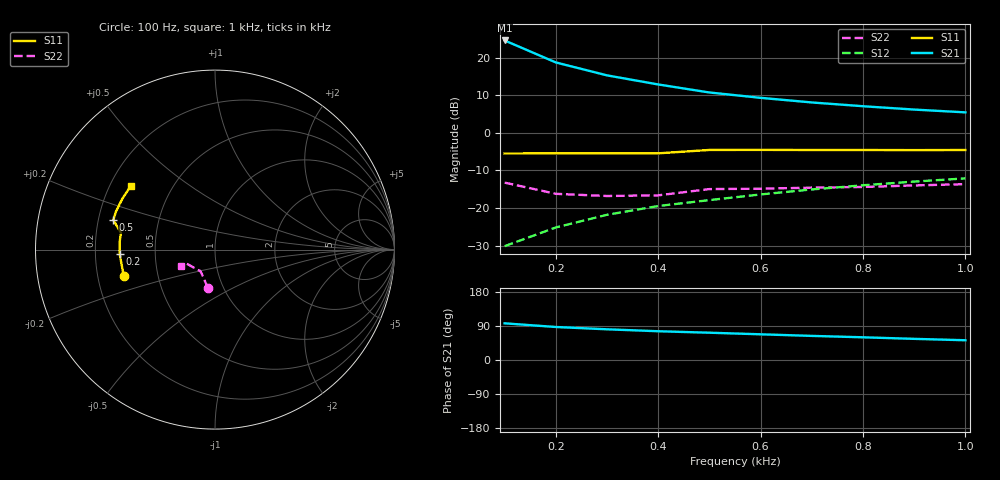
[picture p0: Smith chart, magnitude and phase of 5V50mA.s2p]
#  HZ  S  MA  R  50.0000
! Device:2SC5551A
! Bias:VCE=5V, IC=50mA
!MHZ	S11(MAG/ANG)		S21(MAG/ANG)		S12(MAG/ANG)		S22(MAG/ANG)
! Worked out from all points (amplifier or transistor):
!   10 points, 100 Hz to 1 kHz, reference 50 ohm
!   highest |S21| = 24.5 dB at 100 Hz (marker M1)
!   |S21| within 3 dB of that: start of sweep to 151.3 Hz
!   unconditionally stable (mu >= 1): 292.5 Hz to 775.2 Hz
!   at 200 Hz: K = 0.98, MSG = 21.9 dB, |S12| = -25.2 dB
!   at 600 Hz: K = 1.01, MAG = 12.2 dB, |S12| = -16.4 dB
!   at 1 kHz: K = 0.98, MSG = 8.8 dB, |S12| = -12.1 dB
!   S11 on the Smith chart (normalised r, x): 100 Hz: 0.31, -0.13; 200 Hz: 0.31, -0.02; 500 Hz: 0.26, +0.13; 1 kHz: 0.29, +0.31
100  0.529 -164.1  16.85 96.8  0.031 66.6  0.217 -100.6
200  0.532 -177.5  8.597 87.1  0.055 72.6  0.154 -118.4
300  0.533 175.4  5.788 81.0  0.081 73.6  0.144 -125.2
400  0.532 169.9  4.381 75.9  0.106 72.9  0.147 -128.3
500  0.59 163.8  3.427 72.0  0.127 72.5  0.178 -154.4
600  0.591 159.3  2.909 67.8  0.151 71.1  0.18 -155.0
700  0.589 155.0  2.525 63.6  0.176 69.4  0.186 -154.8
800  0.589 150.9  2.25 59.9  0.2 67.5  0.19 -154.6
900  0.587 146.5  2.031 55.8  0.224 65.4  0.199 -154.1
1000  0.589 142.8  1.864 52.1  0.247 63.7  0.207 -154.5
